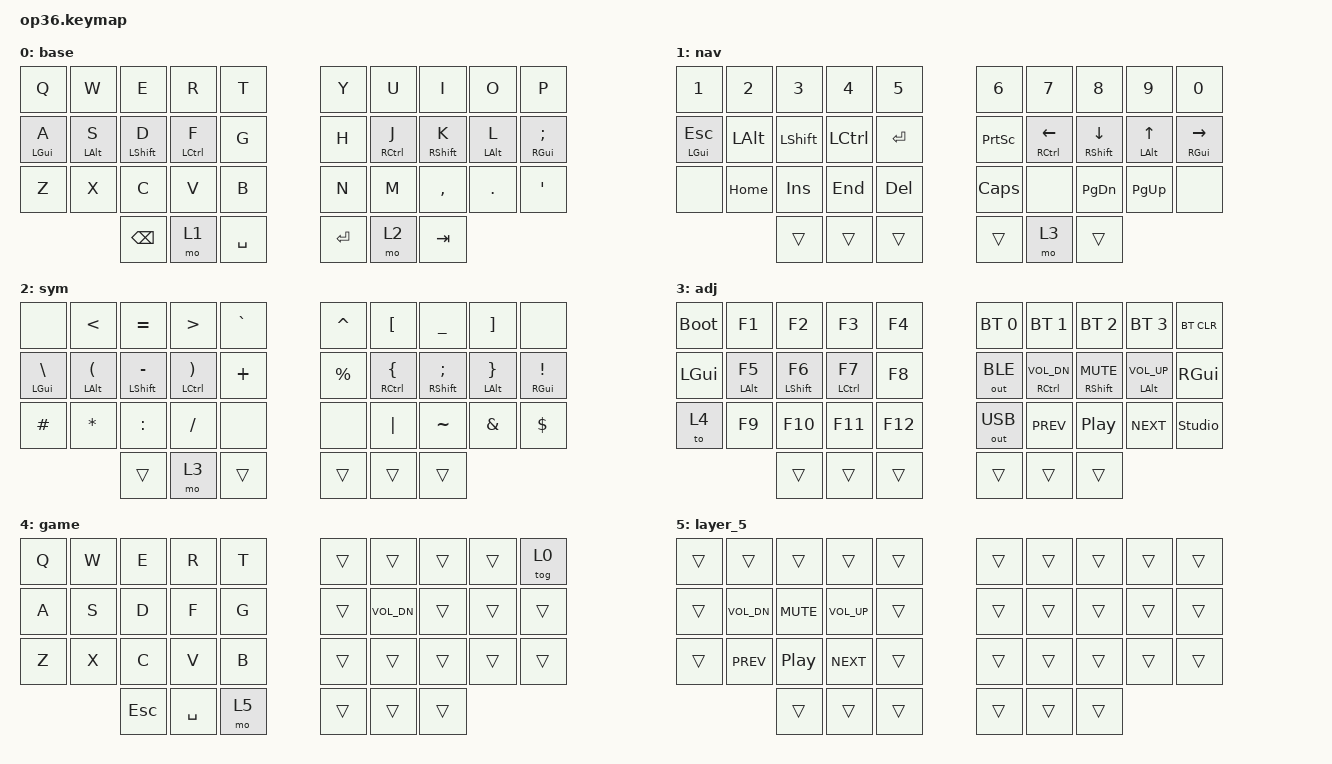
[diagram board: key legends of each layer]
#include "keys_ru.h"
#include <behaviors.dtsi>
#include <dt-bindings/zmk/bt.h>
#include <dt-bindings/zmk/keys.h>
#include <dt-bindings/zmk/outputs.h>

&mt {
    quick-tap-ms = <200>;
    flavor = "tap-preferred";
    require-prior-idle-ms = <125>;
};

/ {
    behaviors {
        hml: home_row_mod_left {
            compatible = "zmk,behavior-hold-tap";
            #binding-cells = <2>;
            flavor = "balanced";
            require-prior-idle-ms = <150>;
            tapping-term-ms = <280>;
            quick-tap-ms = <175>;
            bindings = <&kp>, <&kp>;

            hold-trigger-key-positions = <5 6 7 8 9 15 16 17 18 19 25 26 27 28 29 33 34 35>;
            hold-trigger-on-release;
        };

        hmr: home_row_mod_right {
            compatible = "zmk,behavior-hold-tap";
            #binding-cells = <2>;
            flavor = "balanced";
            require-prior-idle-ms = <150>;
            tapping-term-ms = <280>;
            quick-tap-ms = <175>;
            bindings = <&kp>, <&kp>;

            hold-trigger-key-positions = <0 1 2 3 4 10 11 12 13 14 20 21 22 23 24 30 31 32>;
            hold-trigger-on-release;
        };
    };

    combos {
        compatible = "zmk,combos";

        kha {
            bindings = <&kp LBKT>;
            key-positions = <6 7>;
        };

        hrdsgn {
            bindings = <&kp RBKT>;
            key-positions = <7 8>;
        };
    };

    keymap {
        compatible = "zmk,keymap";

        base {
            bindings = <
  &kp Q        &kp W        &kp E         &kp R          &kp T                          &kp Y  &kp U         &kp I         &kp O        &kp P
  &hml LGUI A  &hml LALT S  &hml LSHFT D  &hml LCTRL F   &kp G                          &kp H  &hmr RCTRL J  &hmr RSHFT K  &hmr LALT L  &hmr RGUI SEMICOLON
  &kp Z        &kp X        &kp C         &kp V          &kp B                          &kp N  &kp M         &kp COMMA     &kp DOT      &kp SQT
                                          &kp BACKSPACE  &mo 1  &kp SPACE    &kp ENTER  &mo 2  &kp TAB
            >;
        };

        nav {
            bindings = <
  &kp N1         &kp N2    &kp N3     &kp N4     &kp N5                        &kp N6           &kp N7           &kp N8           &kp N9        &kp N0
  &hml LGUI ESC  &kp LALT  &kp LSHFT  &kp LCTRL  &kp ENTER                     &kp PRINTSCREEN  &hmr RCTRL LEFT  &hmr RSHFT DOWN  &hmr LALT UP  &hmr RGUI RIGHT
  &none          &kp HOME  &kp INS    &kp END    &kp DELETE                    &kp CAPS         &none            &kp PG_DN        &kp PG_UP     &none
                                      &trans     &trans      &trans    &trans  &mo 3            &trans
            >;
        };

        sym {
            bindings = <
  &none           &kp LT          &kp EQUAL         &kp GT           &kp GRAVE                    &kp CARET  &kp LBKT         &kp UNDER        &kp RBKT        &none
  &hml LGUI BSLH  &hml LALT LPAR  &hml LSHFT MINUS  &hml LCTRL RPAR  &kp PLUS                     &kp PRCNT  &hmr RCTRL LBRC  &hmr RSHFT SEMI  &hmr LALT RBRC  &hmr RGUI EXCL
  &kp HASH        &kp STAR        &kp COLON         &kp FSLH         &none                        &none      &kp PIPE         &kp TILDE        &kp AMPS        &kp DLLR
                                                    &trans           &mo 3      &trans    &trans  &trans     &trans
            >;
        };

        adj {
            bindings = <
  &bootloader  &kp F1        &kp F2         &kp F3         &kp F4                     &bt BT_SEL 0  &bt BT_SEL 1         &bt BT_SEL 2       &bt BT_SEL 3        &bt BT_CLR
  &kp LGUI     &hml LALT F5  &hml LSHFT F6  &hml LCTRL F7  &kp F8                     &out OUT_BLE  &hmr RCTRL C_VOL_DN  &hmr RSHFT C_MUTE  &hmr LALT C_VOL_UP  &kp RGUI
  &to 4        &kp F9        &kp F10        &kp F11        &kp F12                    &out OUT_USB  &kp C_PREV           &kp C_PP           &kp C_NEXT          &studio_unlock
                                            &trans         &trans   &trans    &trans  &trans        &trans
            >;
        };

        game {
            bindings = <
  &kp Q  &kp W  &kp E  &kp R    &kp T                       &trans  &trans        &trans  &trans  &tog 0
  &kp A  &kp S  &kp D  &kp F    &kp G                       &trans  &kp C_VOL_DN  &trans  &trans  &trans
  &kp Z  &kp X  &kp C  &kp V    &kp B                       &trans  &trans        &trans  &trans  &trans
                       &kp ESC  &kp SPACE  &mo 5    &trans  &trans  &trans
            >;
        };

        layer_5 {
            bindings = <
  &trans  &trans        &trans      &trans        &trans                    &trans  &trans  &trans  &trans  &trans
  &trans  &kp C_VOL_DN  &kp C_MUTE  &kp C_VOL_UP  &trans                    &trans  &trans  &trans  &trans  &trans
  &trans  &kp C_PREV    &kp C_PP    &kp C_NEXT    &trans                    &trans  &trans  &trans  &trans  &trans
                                    &trans        &trans  &trans    &trans  &trans  &trans
            >;
        };
    };
};
